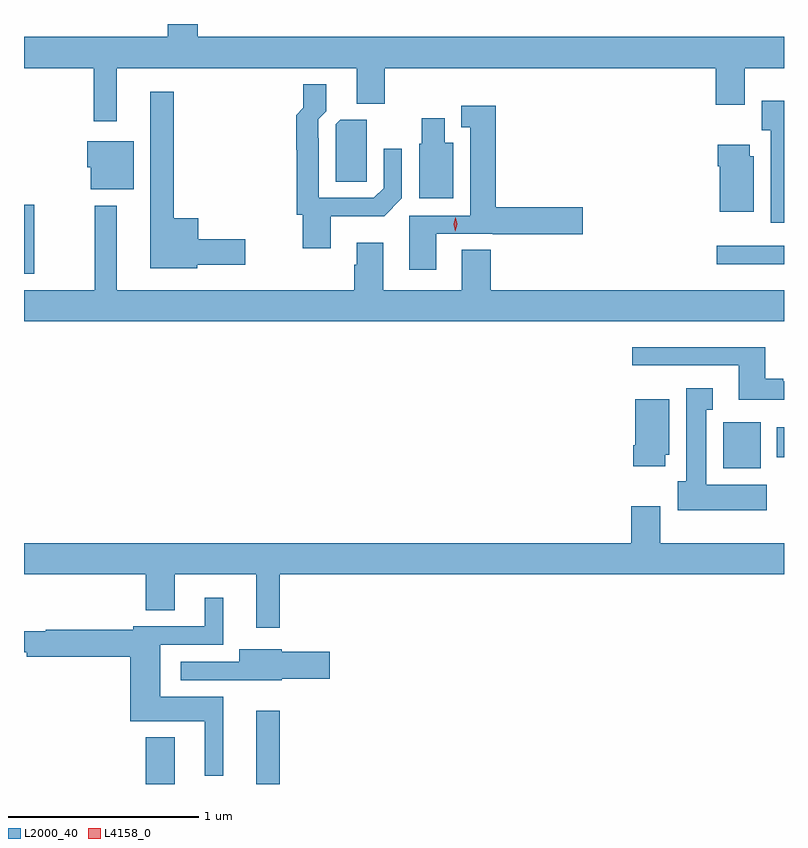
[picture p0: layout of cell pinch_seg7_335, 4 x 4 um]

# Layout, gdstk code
import gdstk
lib = gdstk.Library(unit=1e-6, precision=1e-09)
def R(c, l, rs):  # rectangles x0, y0, x1, y1
    for r in rs: c.add(gdstk.rectangle(r[:2], r[2:], *l))
def P(c, l, *ps):  # polygons
    for p in ps: c.add(gdstk.Polygon(p, *l))
L2000_40 = (2000, 40)
L4158_0 = (4158, 0)

pinch_seg7_335 = lib.new_cell('pinch_seg7_335')
R(pinch_seg7_335, L2000_40, [(395.201,1015.496,395.353,1015.741), (395.783,1015.496,395.905,1015.882), (398.24,1017.158,398.437,1017.4), (398.522,1017.217,398.56,1017.373), (394.56,1018.181,394.614,1018.546), (398.205,1018.232,398.56,1018.329)])
P(pinch_seg7_335, L2000_40, [(395.047,1019.264),(396.311,1019.264),(396.311,1019.077),(396.459,1019.077),(396.459,1019.264),(398.201,1019.264),(398.201,1019.07),(398.353,1019.07),(398.353,1019.264),(398.56,1019.264),(398.56,1019.428),(395.474,1019.428),(395.474,1019.496),(395.317,1019.496),(395.317,1019.428),(394.56,1019.428),(394.56,1019.264),(394.926,1019.264),(394.926,1018.983),(395.047,1018.983)],
  [(396.175,1018.484),(396.455,1018.484),(396.549,1018.578),(396.549,1018.84),(396.453,1018.84),(396.453,1018.632),(396.402,1018.581),(396.111,1018.581),(396.111,1018.895),(396.108,1018.895),(396.108,1018.995),(396.151,1019.038),(396.151,1019.179),(396.031,1019.179),(396.031,1019.055),(395.993,1019.016),(395.993,1018.834),(395.995,1018.834),(395.995,1018.491),(396.028,1018.491),(396.028,1018.317),(396.175,1018.317)],
  [(395.472,1018.229),(395.725,1018.229),(395.725,1018.364),(395.476,1018.364),(395.476,1018.474),(395.347,1018.474),(395.347,1019.14),(395.225,1019.14),(395.225,1018.211),(395.472,1018.211)],
  [(398.56,1019.092),(398.444,1019.092),(398.444,1018.938),(398.489,1018.938),(398.489,1018.449),(398.56,1018.449)],
  [(396.73,1018.392),(397.026,1018.392),(397.026,1018.39),(397.501,1018.39),(397.501,1018.532),(397.043,1018.532),(397.043,1019.065),(396.86,1019.065),(396.86,1018.952),(396.908,1018.952),(396.908,1018.488),(396.587,1018.488),(396.587,1018.203),(396.73,1018.203)],
  [(396.82,1018.87),(396.775,1018.87),(396.775,1018.999),(396.653,1018.999),(396.653,1018.866),(396.641,1018.866),(396.641,1018.58),(396.82,1018.58)],
  [(396.363,1018.777),(396.364,1018.777),(396.364,1018.992),(396.225,1018.992),(396.201,1018.968),(396.201,1018.666),(396.363,1018.666)],
  [(395.137,1018.879),(394.892,1018.879),(394.892,1018.743),(394.91,1018.743),(394.91,1018.625),(395.137,1018.625)],
  [(398.401,1018.8),(398.38,1018.8),(398.38,1018.861),(398.21,1018.861),(398.21,1018.748),(398.222,1018.748),(398.222,1018.508),(398.401,1018.508)],
  [(398.56,1018.096),(397.016,1018.096),(397.016,1018.307),(396.863,1018.307),(396.863,1018.096),(396.451,1018.096),(396.451,1018.345),(396.311,1018.345),(396.311,1018.229),(396.299,1018.229),(396.299,1018.096),(395.047,1018.096),(395.047,1018.54),(394.933,1018.54),(394.933,1018.096),(394.56,1018.096),(394.56,1017.932),(398.56,1017.932)],
  [(398.56,1017.615),(398.557,1017.615),(398.557,1017.628),(398.461,1017.628),(398.461,1017.796),(397.761,1017.796),(397.761,1017.699),(398.321,1017.699),(398.321,1017.518),(398.56,1017.518)],
  [(398.47,1017.07),(398.152,1017.07),(398.152,1017.467),(398.185,1017.467),(398.185,1017.58),(398.045,1017.58),(398.045,1017.09),(398,1017.09),(398,1016.936),(398.47,1016.936)],
  [(397.936,1017.228),(397.957,1017.228),(397.957,1017.52),(397.778,1017.52),(397.778,1017.28),(397.766,1017.28),(397.766,1017.168),(397.936,1017.168)],
  [(395.905,1016.6),(398.56,1016.6),(398.56,1016.764),(397.909,1016.764),(397.909,1016.959),(397.757,1016.959),(397.757,1016.764),(394.56,1016.764),(394.56,1016.6),(395.201,1016.6),(395.201,1016.41),(395.353,1016.41),(395.353,1016.6),(395.783,1016.6),(395.783,1016.319),(395.905,1016.319)],
  [(395.608,1015.954),(395.278,1015.954),(395.278,1016.229),(395.608,1016.229),(395.608,1016.476),(395.51,1016.476),(395.51,1016.325),(395.136,1016.325),(395.136,1016.307),(394.674,1016.307),(394.674,1016.299),(394.56,1016.299),(394.56,1016.19),(394.574,1016.19),(394.574,1016.165),(395.12,1016.165),(395.12,1015.826),(395.51,1015.826),(395.51,1015.539),(395.608,1015.539)],
  [(395.916,1016.051),(396.169,1016.051),(396.169,1016.193),(395.916,1016.193),(395.916,1016.206),(395.693,1016.206),(395.693,1016.139),(395.385,1016.139),(395.385,1016.043),(395.697,1016.043),(395.697,1016.042),(395.916,1016.042)])
P(pinch_seg7_335, L4158_0, [(396.831,1018.405),(396.831,1018.405),(396.821,1018.441),(396.831,1018.476),(396.831,1018.476),(396.832,1018.476),(396.841,1018.441),(396.831,1018.405)])

lib.write_gds('pinch_seg7_335.gds')
